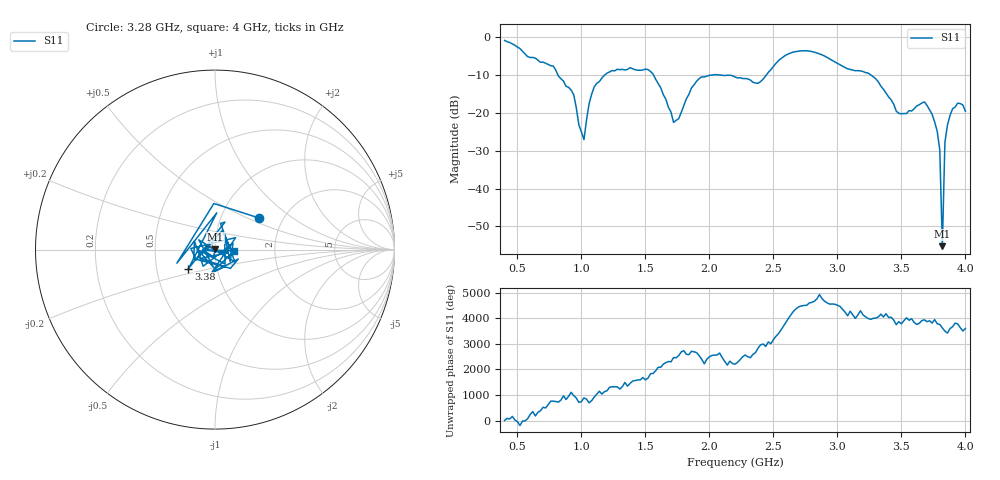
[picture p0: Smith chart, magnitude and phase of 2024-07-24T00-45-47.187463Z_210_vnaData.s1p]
!Created with skrf (http://scikit-rf.org).
# Hz S RI R 50.0
!freq ReS11 ImS11
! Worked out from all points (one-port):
!   181 points, 400 MHz to 4 GHz, reference 50 ohm
!   lowest |S11| = -55.2 dB at 3.82 GHz (marker M1), VSWR 1.00, Z = 50.2 + j0.0629 ohm
!   |S11| at or under -10 dB: 816.8 MHz to 1.181 GHz (364.5 MHz wide, 36.5 % of centre); 1.564 GHz to 2.02 GHz (456.1 MHz wide, 25.5 % of centre); 3.263 GHz to end of sweep (the widest 3 of 4)
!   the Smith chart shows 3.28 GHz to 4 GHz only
!   S11 on the Smith chart (normalised r, x): 3.28 GHz: 1.52, +0.58; 3.38 GHz: 0.73, -0.16; 4 GHz: 1.23, -0.02
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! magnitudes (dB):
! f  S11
! 400 MHz  -0.8
! 780 MHz  -7.6
! 860 MHz  -11.6
! 940 MHz  -15.2
! 1.02 GHz  -27.1
! 1.06 GHz  -17.6
! 1.1 GHz  -13.1
! 1.3 GHz  -8.6
! 1.54 GHz  -9.0
! 1.72 GHz  -22.5
! 1.76 GHz  -21.5
! 1.92 GHz  -10.9
! 2.2 GHz  -10.5
! 2.38 GHz  -12.2
! 2.66 GHz  -3.9
! 3.1 GHz  -8.5
! 3.28 GHz  -10.4
! 3.38 GHz  -14.8
! 3.48 GHz  -20.1
! 3.56 GHz  -19.4
! 3.68 GHz  -17.1
! 3.78 GHz  -24.9
! 3.8 GHz  -29.8
! 3.82 GHz  -55.2
! 3.84 GHz  -27.8
! 3.86 GHz  -23.2
! 3.94 GHz  -17.4
! 4 GHz  -19.6
